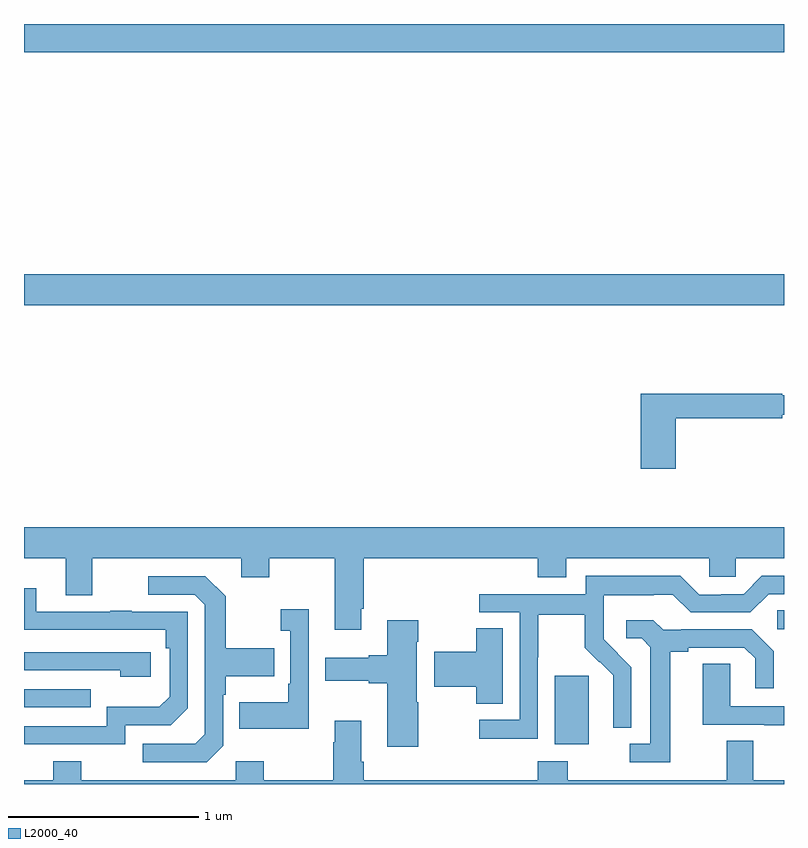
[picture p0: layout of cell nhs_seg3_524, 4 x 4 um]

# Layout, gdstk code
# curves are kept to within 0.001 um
import gdstk
lib = gdstk.Library(unit=1e-6, precision=1e-09)
def R(c, l, rs):  # rectangles x0, y0, x1, y1
    for r in rs: c.add(gdstk.rectangle(r[:2], r[2:], *l))
def P(c, l, *ps):  # polygons
    for p in ps: c.add(gdstk.Polygon(p, *l))
L2000_40 = (2000, 40)

nhs_seg3_524 = lib.new_cell('nhs_seg3_524')
R(nhs_seg3_524, L2000_40, [(139.793,694.61,139.972,694.971), (137,694.803,137.351,694.899), (140.964,695.214,141,695.315), (137,696.92,141,697.084), (137,698.252,141,698.4)])
P(nhs_seg3_524, L2000_40, [(140.429,696.325),(140.99,696.325),(140.99,696.344),(141,696.344),(141,696.446),(140.99,696.446),(140.99,696.454),(140.246,696.454),(140.246,696.06),(140.429,696.06)],
  [(138.775,695.323),(138.788,695.323),(138.788,695.588),(139.703,695.588),(139.703,695.489),(139.855,695.489),(139.855,695.588),(140.607,695.588),(140.607,695.49),(140.745,695.49),(140.745,695.588),(141,695.588),(141,695.752),(137,695.752),(137,695.588),(137.219,695.588),(137.219,695.394),(137.359,695.394),(137.359,695.588),(138.143,695.588),(138.143,695.489),(138.291,695.489),(138.291,695.588),(138.635,695.588),(138.635,695.211),(138.775,695.211)],
  [(139.704,695.068),(139.707,695.068),(139.707,695.292),(139.951,695.292),(139.951,695.117),(140.028,695.04),(140.031,695.043),(140.102,694.973),(140.102,694.85),(140.1,694.85),(140.1,694.696),(140.196,694.696),(140.196,695.014),(140.05,695.162),(140.05,695.259),(140.052,695.259),(140.052,695.393),(140.315,695.393),(140.315,695.397),(140.415,695.397),(140.508,695.304),(140.823,695.304),(140.919,695.4),(141,695.4),(141,695.496),(140.883,695.496),(140.787,695.4),(140.669,695.4),(140.669,695.397),(140.553,695.397),(140.453,695.497),(139.956,695.497),(139.956,695.4),(139.395,695.4),(139.395,695.304),(139.608,695.304),(139.608,694.737),(139.395,694.737),(139.395,694.639),(139.704,694.639)],
  [(138.048,694.602),(138.048,694.871),(138.061,694.871),(138.061,694.967),(138.317,694.967),(138.317,695.115),(138.061,695.115),(138.061,695.387),(137.955,695.493),(137.655,695.493),(137.655,695.397),(137.898,695.397),(137.952,695.343),(137.952,694.662),(137.901,694.611),(137.625,694.611),(137.625,694.515),(137.961,694.515)],
  [(137.532,694.71),(137.772,694.71),(137.862,694.8),(137.862,695.307),(137.567,695.307),(137.567,695.312),(137.455,695.312),(137.455,695.307),(137.065,695.307),(137.065,695.431),(137,695.431),(137,695.212),(137.746,695.211),(137.746,695.114),(137.766,695.114),(137.766,694.86),(137.713,694.807),(137.436,694.807),(137.436,694.704),(137,694.704),(137,694.608),(137.532,694.608)],
  [(138.498,695.32),(138.351,695.32),(138.351,695.207),(138.402,695.207),(138.402,694.927),(138.39,694.927),(138.39,694.831),(138.133,694.831),(138.133,694.691),(138.498,694.691)],
  [(140.401,695.096),(140.497,695.096),(140.497,695.118),(140.792,695.118),(140.849,695.061),(140.849,694.905),(140.946,694.905),(140.946,695.098),(140.83,695.214),(140.458,695.214),(140.458,695.211),(140.364,695.211),(140.312,695.263),(140.169,695.263),(140.169,695.166),(140.25,695.166),(140.297,695.119),(140.297,694.611),(140.187,694.611),(140.187,694.515),(140.401,694.515)],
  [(139.074,694.829),(139.066,694.829),(139.066,695.15),(139.074,695.15),(139.074,695.263),(138.911,695.263),(138.911,695.078),(138.815,695.078),(138.815,695.065),(138.585,695.065),(138.585,694.943),(138.815,694.943),(138.815,694.931),(138.911,694.931),(138.911,694.596),(139.074,694.596)],
  [(139.519,695.219),(139.381,695.219),(139.381,695.096),(139.158,695.096),(139.158,694.913),(139.381,694.913),(139.381,694.822),(139.519,694.822)],
  [(137.668,695.094),(137,695.094),(137,694.998),(137.507,694.998),(137.507,694.964),(137.668,694.964)],
  [(141,694.809),(140.718,694.809),(140.718,695.033),(140.573,695.033),(140.573,694.713),(140.897,694.713),(140.897,694.709),(141,694.709)],
  [(141,694.42),(140.839,694.42),(140.839,694.628),(140.699,694.628),(140.699,694.42),(139.863,694.42),(139.863,694.519),(139.703,694.519),(139.703,694.42),(138.788,694.42),(138.788,694.516),(138.775,694.516),(138.775,694.732),(138.635,694.732),(138.635,694.619),(138.628,694.619),(138.628,694.42),(138.261,694.42),(138.261,694.519),(138.114,694.519),(138.114,694.42),(137.301,694.42),(137.301,694.519),(137.153,694.519),(137.153,694.42),(137,694.42),(137,694.4),(141,694.4)])

lib.write_gds('nhs_seg3_524.gds')
